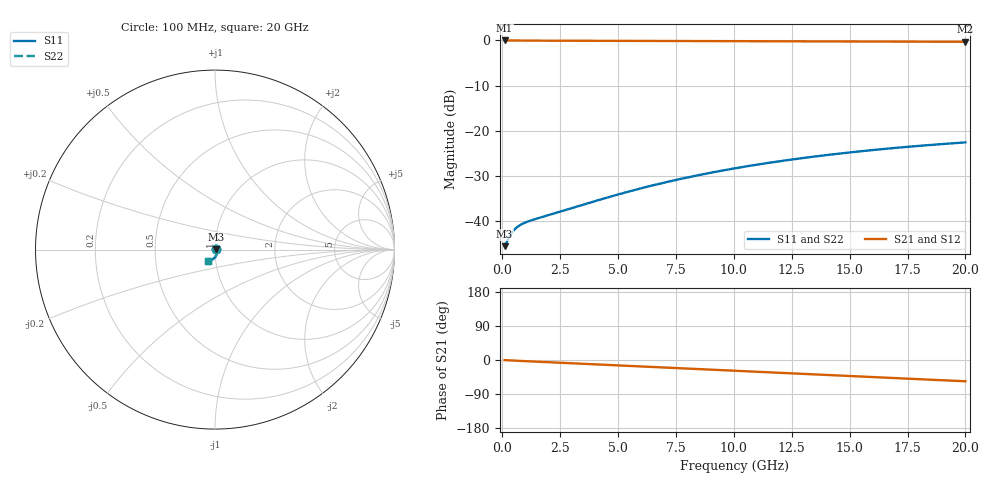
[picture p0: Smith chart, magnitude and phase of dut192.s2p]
! Touchstone file exported from HFSS 2026.1.0
!  File:  C:/ffzhzh/LocalFiles/Ansys_Project_Files/temp_train_BSMRDL_192_1782987511_6248.aedt
!  Generated:  06:20:52 PM Jul  2, 2026
!  Design:  BSMRDL
!  Project:  temp_train_BSMRDL_192_1782987511_6248
! Variables:
!  h_bsmrdl = 3.03um
!  h_ox = 20um
!  h_rdl = 5um
!  h_sub = 80um
!  h_tmrdl = 5um
!  h_tsv = 80um
!  h_via = 3um
!  l_bsmrdl = 999.65um
!  l_sub = 1399.65um
!  l_tmrdl = 200um
!  m_sub = 200um
!  pitch = 26.84um
!  r_tsv = 6um
!  s_tmrdl = 10um
!  w_bsmrdl = 23.83um
!  w_sub = 500um
!  w_tmrdl = 12um
!  x_tsv_center1 = 206um
!  x_tsv_center2 = 1229.48um
!  x_tsv_center3 = 1441.48um
!  x_tsv_center4 = 2464.96um
!  x_tsv_center5 = 2676.96um
!  x_tsv_center6 = 3700.44um
# GHz S MA R 50.000000
! Terminal data exported
! Port[1] = BSM_RDL1_1_T1
! Port[2] = BSM_RDL1_1_T2
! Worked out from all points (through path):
!   200 points, 100 MHz to 20 GHz, reference 50 ohm
!   highest |S21| = -0.05 dB at 100 MHz (marker M1); lowest = -0.3 dB at 20 GHz (marker M2)
!   group delay of S21, straight-line fit = 7.77 ps
!   lowest |S11| = -45.5 dB at 100 MHz (marker M3), VSWR 1.01, Z = 50.5 + j0.0784 ohm
!   |S11| at or under -10 dB: start of sweep to end of sweep
!   |S22| runs from -45.5 to -22.5 dB; largest |S21 - S12| = 4.2e-15
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0.1  0.005308 8.4  0.9948 -0.4  0.9948 -0.4  0.005308 8.4
! Gamma 0 0 0 0
! Port Impedance 50 0 50 0
0.3  0.006705 13.8  0.9935 -1.0  0.9935 -1.0  0.006705 13.8
0.4  0.007399 12.3  0.9928 -1.3  0.9928 -1.3  0.007399 12.3
0.5  0.007982 9.8  0.9922 -1.6  0.9922 -1.6  0.007984 9.8
0.6  0.008459 6.9  0.9916 -1.9  0.9916 -1.9  0.008461 6.9
0.7  0.008849 3.9  0.9912 -2.2  0.9912 -2.2  0.008853 3.9
0.8  0.009175 1.0  0.9908 -2.5  0.9908 -2.5  0.00918 1.0
1  0.009701 -4.4  0.9903 -3.0  0.9903 -3.0  0.009708 -4.4
1.3  0.01034 -11.6  0.9897 -3.9  0.9897 -3.9  0.01035 -11.6
3.5  0.01527 -44.6  0.9873 -10.2  0.9873 -10.2  0.01533 -44.5
5.2  0.02043 -59.2  0.985 -15.0  0.985 -15.0  0.02053 -58.9
6  0.02315 -64.5  0.9838 -17.3  0.9838 -17.3  0.02328 -64.2
6.8  0.02602 -69.3  0.9825 -19.5  0.9825 -19.5  0.02617 -69.0
7.6  0.02899 -73.7  0.9812 -21.8  0.9812 -21.8  0.02918 -73.3
8.4  0.03204 -77.8  0.9799 -24.0  0.9799 -24.0  0.03226 -77.3
10.1  0.03868 -85.7  0.977 -28.8  0.977 -28.8  0.03897 -85.1
11.7  0.04498 -92.6  0.9744 -33.2  0.9744 -33.2  0.04534 -91.9
13.4  0.05159 -99.4  0.9716 -38.0  0.9716 -38.0  0.05203 -98.6
15  0.05761 -105.6  0.9691 -42.4  0.9691 -42.4  0.05813 -104.6
16.7  0.06371 -111.8  0.9665 -47.1  0.9665 -47.1  0.06431 -110.8
18.3  0.06909 -117.5  0.9641 -51.5  0.9641 -51.5  0.06977 -116.4
20  0.07435 -123.4  0.9617 -56.1  0.9617 -56.1  0.07511 -122.1
